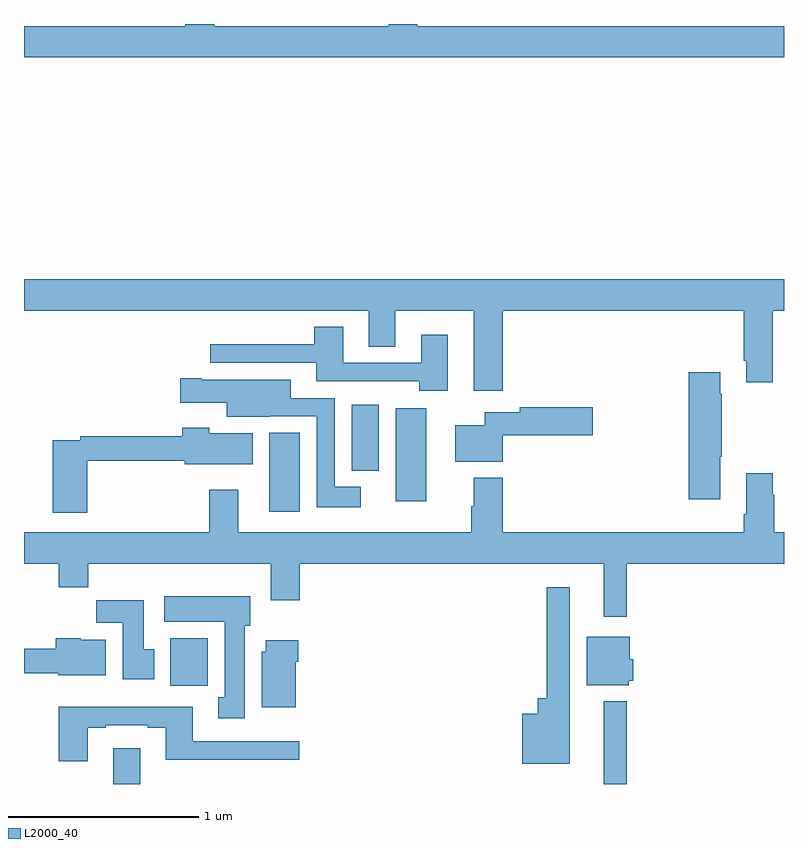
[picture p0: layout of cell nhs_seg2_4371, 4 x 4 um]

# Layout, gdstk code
import gdstk
lib = gdstk.Library(unit=1e-6, precision=1e-09)
def R(c, l, rs):  # rectangles x0, y0, x1, y1
    for r in rs: c.add(gdstk.rectangle(r[:2], r[2:], *l))
def P(c, l, *ps):  # polygons
    for p in ps: c.add(gdstk.Polygon(p, *l))
L2000_40 = (2000, 40)

nhs_seg2_4371 = lib.new_cell('nhs_seg2_4371')
R(nhs_seg2_4371, L2000_40, [(347.471,655.8,347.611,655.987), (350.051,655.8,350.173,656.236), (347.771,656.316,347.967,656.566), (348.29,657.234,348.451,657.649), (348.956,657.288,349.117,657.778), (348.725,657.449,348.868,657.796)])
P(nhs_seg2_4371, L2000_40, [(351,659.788),(349.07,659.788),(349.07,659.8),(348.919,659.8),(348.919,659.788),(348.001,659.788),(348.001,659.8),(347.849,659.8),(347.849,659.788),(347,659.788),(347,659.624),(351,659.624)],
  [(349.52,658.292),(350.789,658.292),(350.789,658.027),(350.801,658.027),(350.801,657.915),(350.941,657.915),(350.941,658.292),(351,658.292),(351,658.456),(347,658.456),(347,658.292),(348.815,658.292),(348.815,658.102),(348.955,658.102),(348.955,658.292),(349.367,658.292),(349.367,657.87),(349.52,657.87)],
  [(349.231,658.165),(349.091,658.165),(349.091,658.017),(348.679,658.017),(348.679,658.207),(348.527,658.207),(348.527,658.114),(347.979,658.114),(347.979,658.017),(348.539,658.017),(348.539,657.921),(349.079,657.921),(349.079,657.87),(349.231,657.87)],
  [(350.665,657.523),(350.673,657.523),(350.673,657.854),(350.665,657.854),(350.665,657.967),(350.498,657.967),(350.498,657.3),(350.665,657.3)],
  [(348.772,657.364),(348.636,657.364),(348.636,657.831),(348.403,657.831),(348.403,657.928),(347.935,657.928),(347.935,657.936),(347.823,657.936),(347.823,657.806),(348.068,657.806),(348.068,657.734),(348.294,657.734),(348.294,657.735),(348.54,657.735),(348.54,657.257),(348.772,657.257)],
  [(349.521,657.635),(349.993,657.635),(349.993,657.782),(349.608,657.782),(349.608,657.757),(349.425,657.757),(349.425,657.688),(349.271,657.688),(349.271,657.497),(349.521,657.497)],
  [(347.333,657.501),(347.846,657.501),(347.846,657.482),(348.205,657.482),(348.205,657.646),(347.976,657.646),(347.976,657.676),(347.834,657.676),(347.834,657.629),(347.296,657.629),(347.296,657.609),(347.15,657.609),(347.15,657.228),(347.333,657.228)],
  [(350.173,656.96),(351,656.96),(351,657.124),(350.949,657.124),(350.949,657.323),(350.941,657.323),(350.941,657.436),(350.801,657.436),(350.801,657.22),(350.789,657.22),(350.789,657.124),(349.52,657.124),(349.52,657.412),(349.367,657.412),(349.367,657.263),(349.355,657.263),(349.355,657.124),(348.127,657.124),(348.127,657.349),(347.975,657.349),(347.975,657.124),(347,657.124),(347,656.96),(347.183,656.96),(347.183,656.836),(347.339,656.836),(347.339,656.96),(348.299,656.96),(348.299,656.766),(348.452,656.766),(348.452,656.96),(350.051,656.96),(350.051,656.679),(350.173,656.679)],
  [(349.873,656.836),(349.752,656.836),(349.752,656.251),(349.703,656.251),(349.703,656.17),(349.622,656.17),(349.622,655.907),(349.873,655.907)],
  [(348.163,656.634),(348.19,656.634),(348.19,656.788),(347.739,656.788),(347.739,656.654),(348.056,656.654),(348.056,656.257),(348.023,656.257),(348.023,656.145),(348.163,656.145)],
  [(347.686,656.508),(347.629,656.508),(347.629,656.767),(347.38,656.767),(347.38,656.648),(347.519,656.648),(347.519,656.352),(347.686,656.352)],
  [(350.184,656.343),(350.206,656.343),(350.206,656.457),(350.188,656.457),(350.188,656.575),(349.961,656.575),(349.961,656.321),(350.184,656.321)],
  [(347.431,656.56),(347.298,656.56),(347.298,656.566),(347.168,656.566),(347.168,656.512),(347,656.512),(347,656.383),(347.18,656.383),(347.18,656.372),(347.431,656.372)],
  [(348.43,656.444),(348.443,656.444),(348.443,656.557),(348.272,656.557),(348.272,656.496),(348.251,656.496),(348.251,656.204),(348.43,656.204)],
  [(347.335,656.097),(347.431,656.097),(347.431,656.109),(347.651,656.109),(347.651,656.097),(347.747,656.097),(347.747,655.928),(348.448,655.928),(348.448,656.025),(347.887,656.025),(347.887,656.206),(347.183,656.206),(347.183,655.92),(347.335,655.92)])

lib.write_gds('nhs_seg2_4371.gds')
